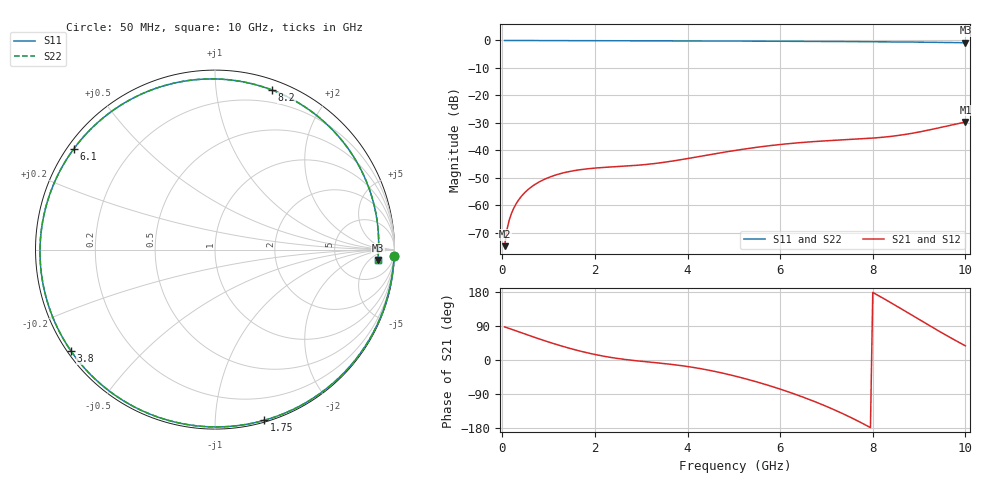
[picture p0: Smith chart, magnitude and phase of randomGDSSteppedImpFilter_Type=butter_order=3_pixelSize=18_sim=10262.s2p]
! freq	dB(S11)	phase(S11)	dB(S12)	phase(S12)
!  dB(S21)	phase(S21)	dB(S22)	phase(S22)
!S-par simulation data
#  GHz  S  DB  R 50
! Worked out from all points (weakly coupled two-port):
!   200 points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, 50 MHz to 10 GHz, reference 50 ohm
!   highest |S21| = -29.66 dB at 10 GHz (marker M1); lowest = -74.8 dB at 50 MHz (marker M2)
!   lowest |S11| = -0.8 dB at 10 GHz (marker M3), VSWR 20.96, Z = 732 - j480 ohm
!   |S11| at or under -10 dB: nowhere
!   |S22| runs from -0.8 to 0.0 dB; largest |S21 - S12| = 0
!   S11 on the Smith chart (normalised r, x): 50 MHz: 1, -53; 1.75 GHz: 0.01, -1.33; 3.8 GHz: 0.01, -0.32; 6.1 GHz: 0.02, +0.32; 8.2 GHz: 0.09, +1.41; 10 GHz: 15, -10
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0.05  -0.01 -2.1  -74.79 87.3  -74.79 87.3  -0.01 -2.1
0.1  -0.01 -4.4  -68.79 85.3  -68.79 85.3  -0.01 -4.4
0.2  -0.02 -8.8  -62.80 81.0  -62.80 81.0  -0.02 -8.8
0.35  -0.03 -15.4  -58.03 74.5  -58.03 74.5  -0.03 -15.5
0.5  -0.03 -22.0  -55.07 68.0  -55.07 68.0  -0.03 -22.0
1  -0.05 -43.5  -49.83 47.4  -49.83 47.4  -0.05 -43.6
1.75  -0.09 -73.9  -46.84 21.4  -46.84 21.4  -0.09 -74.0
2.5  -0.12 -101.7  -45.84 3.9  -45.84 3.9  -0.12 -101.8
3.4  -0.15 -132.0  -44.51 -8.2  -44.51 -8.2  -0.15 -132.1
3.8  -0.16 -144.7  -43.51 -13.8  -43.51 -13.8  -0.16 -144.8
4.45  -0.19 -164.8  -41.61 -26.7  -41.61 -26.7  -0.19 -164.9
5.05  -0.23 177.0  -39.93 -43.1  -39.93 -43.1  -0.23 176.9
5.55  -0.26 161.7  -38.73 -59.7  -38.73 -59.7  -0.26 161.6
6.1  -0.30 144.5  -37.66 -80.9  -37.66 -80.9  -0.30 144.4
6.7  -0.34 124.8  -36.80 -107.5  -36.80 -107.5  -0.34 124.7
7.5  -0.42 96.9  -36.02 -150.2  -36.02 -150.2  -0.42 96.8
8.2  -0.50 70.5  -35.22 164.7  -35.22 164.7  -0.50 70.3
8.35  -0.52 64.6  -34.96 154.1  -34.96 154.1  -0.52 64.4
8.8  -0.58 46.4  -33.90 121.5  -33.90 121.5  -0.58 46.3
9.25  -0.66 27.8  -32.43 88.8  -32.43 88.8  -0.66 27.7
9.65  -0.74 11.1  -30.94 60.8  -30.94 60.8  -0.75 10.9
10  -0.83 -3.6  -29.66 37.3  -29.66 37.3  -0.83 -3.8
